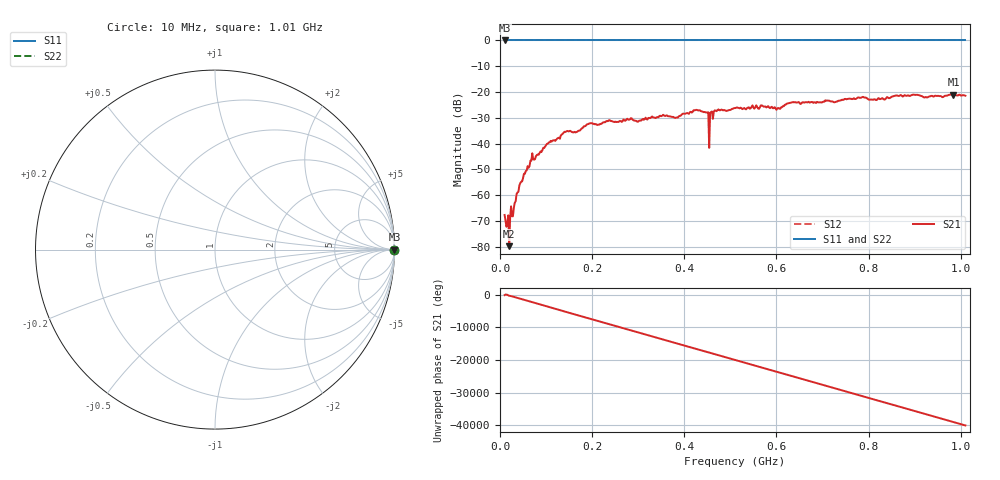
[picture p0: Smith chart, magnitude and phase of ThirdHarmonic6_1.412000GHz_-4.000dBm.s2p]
! 8/16/2025 4:11:25 PM
! C:\ANRITSUVNA\TEMP\TEMP.S2P
! CHANNEL.1
! TR.MEASUREMENT
! RAW.DATA
! RF.CORRECTION.OFF
! AVERAGING.OFF
! IF.BANDWIDTH: 5KHZ
! SWEEPTYPE:  FREQ.SWEEP(Linear)
! Reference Plane Port Info
! PORT:  PORT1  PORT2
! DISTANCE:  0  m  0  m
! TIME:  0  s  0  s
! PHASE.OFFSET:  0  deg.  0  deg.
! LOSS:  0  dB  0  dB
! REF.LOSS:  0  dB  0  dB
! REF.FREQ:  0  Hz  0  Hz
! Power Info
! POWER:  -20  dBm  -20  dBm
! EFF.POWER:  -20  dBm  -20  dBm
! SOURCE.ATTEN:  0  dB  0  dB
! TEST.ATTEN:  0  dB  0  dB
# GHZ S RI R 50.0
! FREQ.GHZ  S11RE  S11IM  S21RE  S21IM  S12RE  S12IM  S22RE  S22IM
!; PortSelection: Port_12
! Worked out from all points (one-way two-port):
!   501 points, 10 MHz to 1.01 GHz, reference 50 ohm
!   highest |S21| = -20.97 dB at 984 MHz (marker M1); lowest = -79.7 dB at 20 MHz (marker M2)
!   lowest |S11| = 0.0 dB at 10 MHz (marker M3)
!   |S11| at or under -10 dB: nowhere
!   |S22| runs from 0.0 to 0.0 dB; largest |S21 - S12| = 1.1
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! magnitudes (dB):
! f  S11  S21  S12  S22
! 10 MHz  0.0  -67.6  0.0  0.0
! 16 MHz  0.0  -71.0  0.0  0.0
! 20 MHz  0.0  -79.7  0.0  0.0
! 24 MHz  0.0  -64.3  0.0  0.0
! 40 MHz  0.0  -58.6  0.0  0.0
! 70 MHz  0.0  -43.7  0.0  0.0
! 142 MHz  0.0  -35.5  0.0  0.0
! 178 MHz  0.0  -34.0  0.0  0.0
! 344 MHz  0.0  -29.8  0.0  0.0
! 382 MHz  0.0  -29.9  0.0  0.0
! 430 MHz  0.0  -27.2  0.0  0.0
! 448 MHz  0.0  -27.9  0.0  0.0
! 450 MHz  0.0  -27.9  0.0  0.0
! 458 MHz  0.0  -27.7  0.0  0.0
! 460 MHz  0.0  -27.5  0.0  0.0
! 468 MHz  0.0  -27.2  0.0  0.0
! 510 MHz  0.0  -26.2  0.0  0.0
! 604 MHz  0.0  -26.2  0.0  0.0
! 678 MHz  0.0  -23.9  0.0  0.0
! 844 MHz  0.0  -22.4  0.0  0.0
! 984 MHz  0.0  -21.0  0.0  0.0
! 1.01 GHz  0.0  -21.4  0.0  0.0
